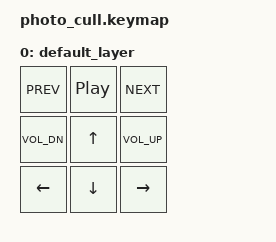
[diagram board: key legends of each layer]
/*
 * Copyright (c) 2020 The ZMK Contributors
 *
 * SPDX-License-Identifier: MIT
 */

#include <behaviors.dtsi>
#include <dt-bindings/zmk/keys.h>
#include <dt-bindings/zmk/bt.h>

/ {
    keymap {
        compatible = "zmk,keymap";

        default_layer {

            bindings = <
           &kp C_PREV   &kp C_PP &kp C_NEXT
           &kp C_VOL_DN &kp UP   &kp C_VOL_UP
           &kp LEFT     &kp DOWN &kp RIGHT
            >;

        };
    };
};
